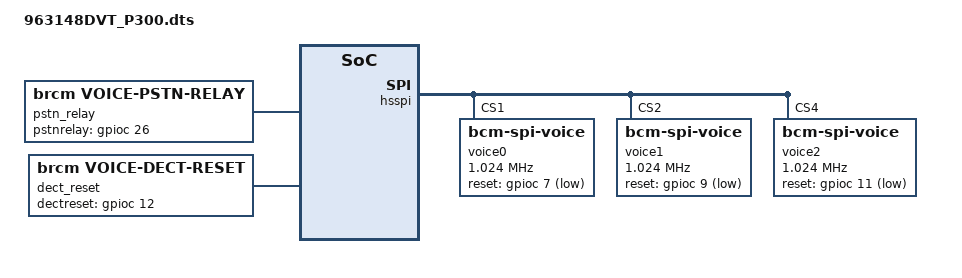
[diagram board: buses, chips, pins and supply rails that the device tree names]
#include "63148.dtsi"
#include "../bcm_voice.dtsi"

/ {
	memory_controller {
		memcfg = <(BP_DDR_SPEED_800_11_11_11 | \
				BP_DDR_TOTAL_SIZE_512MB  | \
				BP_DDR_DEVICE_WIDTH_16)>;
	};

	buttons {
		compatible = "brcm,buttons";

		ses_button {
			ext_irq = <&bca_extintr 32 BCA_GPIO_ACTIVE_LOW (BCA_EXTINTR_TYPE_LOW_LEVEL | BCA_EXTINTR_TYPE_SENSE_LEVEL)>;
			release {
				ses_short_period = <0>;
				ses_long_period = <3>;
			};
		};
	};
	pstn_relay:pstn_relay {
		compatible = "brcm,voice-pstn-relay";
		pstnrelay-gpio = <&gpioc 26 GPIO_ACTIVE_HIGH>;
	};

	dect_reset:dect_reset {
		compatible = "brcm,voice-dect-reset";
		dectreset-gpio = <&gpioc 12 GPIO_ACTIVE_HIGH>;
	};
};

&bcm_voice{
	sliclist = SLICSLAC_LIST_COMMON_FXO;
 };

&hsspi {
	status = "okay";
	voice0 {
		pinctrl-0 = <&a_spim_ss1_b_pin_127>;
		pinctrl-names = "default";
		compatible = "bcm-spi-voice";
		reg = <1>; /* chip select 1 */
		spi-max-frequency = <1024000>;
		reset-gpio = <&gpioc 7 GPIO_ACTIVE_LOW>;
		spi-index = <0>;/* voice header index */
	};
	voice1 {
		pinctrl-0 = <&spim_ss2_b_2_pin_25>;
		pinctrl-names = "default";
		compatible = "bcm-spi-voice";
		reg = <2>; /* chip select 2 */
		spi-max-frequency = <1024000>;
		reset-gpio = <&gpioc 9 GPIO_ACTIVE_LOW>;
		spi-index = <1>;/* voice header index */
	};
	voice2 {
		pinctrl-0 = <&spim_ss4_b_pin_8>;
		pinctrl-names = "default";
		compatible = "bcm-spi-voice";
		reg = <4>; /* chip select 2 */
		spi-max-frequency = <1024000>;
		reset-gpio = <&gpioc 11 GPIO_ACTIVE_LOW>;
		spi-index = <2>;/* voice header index */
	};
};

&mdio_sf2 {
	/* PHYs directly connected to SF2 */
	gphy8:8 {
		status = "okay";
	};
	gphy9:9 {
		status = "okay";
	};
	gphya:a {
		status = "okay";
	};
	gphyb:b {
		status = "okay";
	};
	phy_rgmii1:rgmii1 {
		status = "okay";
	};
	phy_rgmii2:rgmii2 {
		status = "okay";
	};

	/* PHYs connected to crossbar */
	phy_rgmii0:rgmii0 {
		status = "okay";
	};
	phy_rgmii3:rgmii3 {
		status = "okay";
	};
	gphyc:c {
		status = "okay";
	};

	/* Crossbar groups */
	xbar_grp0:0{
		phy-handle = <&phy_rgmii0>;
		status = "okay";
	};
	xbar_grp1:1 {
		phy-handle = <&phy_rgmii3 &gphyc>;
		status = "okay";
	};
};

&switch_sf2 {
	ports {
		sf2_port0@0 {
			phy-handle = <&gphy8>;
			network-leds = <&led0 &led1 &led28>;
			status = "okay";
		};

		sf2_port1@1 {
			phy-handle = <&gphy9>;
			network-leds = <&led2 &led3 &led11>;
			status = "okay";
		};

		sf2_port2@2 {
			phy-handle = <&gphya>;
			network-leds = <&led4 &led5 &led12>;
			status = "okay";
		};

		sf2_port3@3 {
			phy-handle = <&gphyb>;
			network-leds = <&led6 &led7 &led13>;
			status = "okay";
		};

		sf2_port4@4 {
			phy-handle = <&xbar_grp0>;
			status = "okay";
		};

		sf2_port5@5 {
			phy-handle = <&phy_rgmii1>;
			status = "okay";
		};

		sf2_port7@7 {
			phy-handle = <&phy_rgmii2>;
			status = "okay";
		};
	};
};

&switch0 {
	ports {
		
		port0@0 {
			phy-handle = <&xbar_grp1>;
			phy-mode = "gmii";
			status = "okay";
		};
	};
};

&legacy_leds {
	adsl-led = <&led31>;
	adsl-fail-led = <&led16>;
	sec-adsl-led = <&led18>;
	wan-data-led = <&led15>;
	wl-sess-led = <&led24>;
	voip1-ok-led = <&led26>;
	voip2-ok-led = <&led27>;
	pots-led =  <&led25>;
};

&led_ctrl {
	pinctrl-names = "default";
	pinctrl-0 = <&ser_led_clk_pin_1 &ser_led_data_pin_0 &ser_led_mask_pin_2>;
	serial-shifters-installed = <2>;
	serial-data-polarity-high;

	led0: port_0-led_0-bit_0 {
		active_low;
		link = <(LED_SPEED_1G)>;
		status = "okay";
	};
	led1: port_0-led_1-bit_1 {
		active_low;
		link = <(LED_SPEED_100)>;
		status = "okay";
	};
	led2: port_1-led_0-bit_2 {
		active_low;
		link = <(LED_SPEED_1G)>;
		status = "okay";
	};
	led3: port_1-led_1-bit_3 {
		active_low;
		link = <(LED_SPEED_100)>;
		status = "okay";
	};
	led4: port_2-led_0-bit_4 {
		active_low;
		link = <(LED_SPEED_1G)>;
		status = "okay";
	};
	led5: port_2-led_1-bit_5 {
		active_low;
		link = <(LED_SPEED_100)>;
		status = "okay";
	};
	led6: port_3-led_0-bit_6 {
		active_low;
		link = <(LED_SPEED_1G)>;
		status = "okay";
	};
	led7: port_3-led_1-bit_7 {
		active_low;
		link = <(LED_SPEED_100)>;
		status = "okay";
	};
	led8: port_4-led_0-bit_8 {
		active_low;
		link = <(LED_SPEED_1G)>;
		status = "okay";
	};
	led9: port_4-led_1-bit_9 {
		active_low;
		link = <(LED_SPEED_100)>;
		status = "okay";
	};
	led11: port_1-led_2-bit_11 {
		active_low;
		activity = <(LED_SPEED_100|LED_SPEED_1G)>;
		link = <(LED_SPEED_100|LED_SPEED_1G)>;
		status = "okay";
	};
	led12: port_2-led_2-bit_12 {
		active_low;
		activity = <(LED_SPEED_100|LED_SPEED_1G)>;
		link = <(LED_SPEED_100|LED_SPEED_1G)>;
		status = "okay";
	};
	led13: port_3-led_2-pin_13 {
		active_low;
		activity = <(LED_SPEED_100|LED_SPEED_1G)>;
		link = <(LED_SPEED_100|LED_SPEED_1G)>;		
		status = "okay";
	};
	led14: port_4-led_2-pin_14 {
		active_low;
		activity = <(LED_SPEED_100|LED_SPEED_1G)>;
		link = <(LED_SPEED_100|LED_SPEED_1G)>;
		status = "okay";
	};
	led15: wan_0-data-pin_15 {
		active_low;
		status = "okay";
	};
	led16: sw_led_16-pin_16 {
		active_low;
		status = "okay";
	};
	led17: pwm-1-pin_17 {
		active_low;
		status = "okay";
	};
	led18: sw_led_18-pin_18 {
		active_low;
		status = "okay";
	};
	led24: sw_led_24-pin_24 {
		active_low;
		status = "okay";
	};
	led25: sw_led-bit_25 {
		active_low;
		status = "okay";
	};
	led26: sw_led-bit_26 {
		active_low;
		status = "okay";
	};
	led27: sw_led-bit_27 {
		active_low;
		status = "okay";
	};
	led28: port_0-led_2-pin_28 {
		active_low;
		activity = <(LED_SPEED_100|LED_SPEED_1G)>;
		link = <(LED_SPEED_100|LED_SPEED_1G)>;
		status = "okay";
	};
	led29: sw_led_29-pin_29 {
		active_low;
		status = "okay";
	};
	led30: sw_led_30-pin_30 {
		active_low;
		status = "okay";
	};
	led31: sw_led_31-pin_31 {
		active_low;
		status = "okay";
	};	
};
